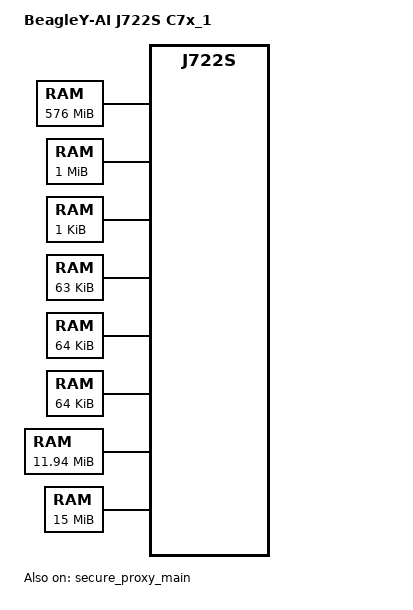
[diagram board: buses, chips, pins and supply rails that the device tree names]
/*
 * Copyright (c) 2026 Texas Instruments Incorporated
 * SPDX-License-Identifier: Apache-2.0
 */

/dts-v1/;

#include <ti/ti_j722s_c7524_c71_1.dtsi>

/ {
	model = "BeagleY-AI J722S C7x_1";
	compatible = "beagle,beagley-ai", "ti,j722s";

	chosen {
		zephyr,sram = &ddr_fw;
		zephyr,flash = &ddr_fw;
		zephyr,ipc = &ipc0;
		zephyr,ipc_shm = &ddr_ipc;
	};

	/*
	 * DDR owned by Linux and the other remote cores: declared, never
	 * allocated into, so a stray placement fails the link.
	 */
	ddr0_reserved: memory@80000000 {
		compatible = "zephyr,memory-region", "mmio-sram";
		reg = <0x00 0x80000000 0x00 0x24000000>;
		zephyr,memory-region = "DDR0_RESERVED";
		zephyr,memory-region-flags = "";
	};

	ddr_ipc: memory@a4000000 {
		compatible = "zephyr,memory-region", "mmio-sram";
		reg = <0x00 0xa4000000 0x00 0x00100000>;
		zephyr,memory-region = "IPC_VRING";
		zephyr,memory-region-flags = "rw";
	};

	rsc_table: memory@a4100000 {
		compatible = "zephyr,memory-region", "mmio-sram";
		reg = <0x00 0xa4100000 0x00 0x00000400>;
		zephyr,memory-region = "IPC_RSC";
		zephyr,memory-region-flags = "rw";
	};

	trace_buf: memory@a4100400 {
		compatible = "zephyr,memory-region", "mmio-sram";
		reg = <0x00 0xa4100400 0x00 0x0000fc00>;
		zephyr,memory-region = "TRACE";
		zephyr,memory-region-flags = "rw";
	};

	diag_band: memory@a4110000 {
		compatible = "zephyr,memory-region", "mmio-sram";
		reg = <0x00 0xa4110000 0x00 0x00010000>;
		zephyr,memory-region = "DIAG";
		zephyr,memory-region-flags = "rw";
	};

	vectors: memory@a4400000 {
		compatible = "zephyr,memory-region", "mmio-sram";
		reg = <0x00 0xa4400000 0x00 0x00010000>;
		zephyr,memory-region = "VECTORS";
		zephyr,memory-region-flags = "rx";
	};

	fw_sram: memory@a4410000 {
		compatible = "zephyr,memory-region", "mmio-sram";
		reg = <0x00 0xa4410000 0x00 0x00bf0000>;
		zephyr,memory-region = "SRAM";
		zephyr,memory-region-flags = "rwx";
	};

	/* firmware DDR past the resource table page */
	ddr_fw: memory@a4101000 {
		compatible = "mmio-sram";
		reg = <0x00 0xa4101000 0x00 0x00eff000>;
	};

	ipc0: ipc0 {
		compatible = "zephyr,ipc-openamp-static-vrings";
		memory-region = <&ddr_ipc>;
		mboxes = <&mailbox_c7x 3>, <&mailbox_c7x 2>;
		mbox-names = "rx", "tx";
		role = "remote";
		status = "okay";
	};
};

&secure_proxy_main {
	status = "okay";
};
